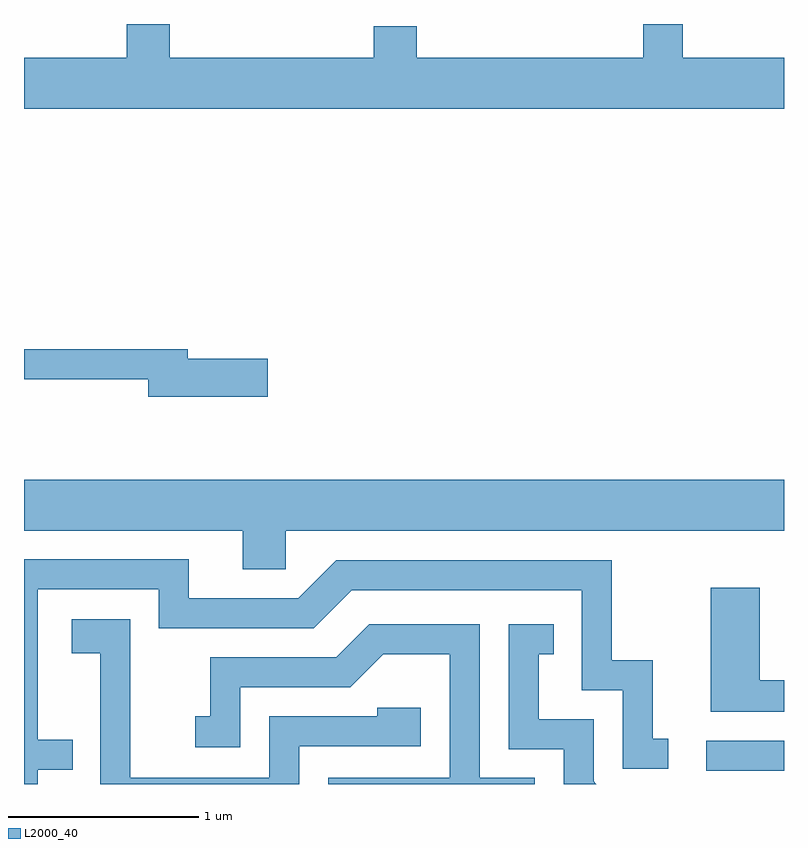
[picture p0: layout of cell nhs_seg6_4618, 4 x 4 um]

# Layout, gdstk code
import gdstk
lib = gdstk.Library(unit=1e-6, precision=1e-09)
def R(c, l, rs):  # rectangles x0, y0, x1, y1
    for r in rs: c.add(gdstk.rectangle(r[:2], r[2:], *l))
def P(c, l, *ps):  # polygons
    for p in ps: c.add(gdstk.Polygon(p, *l))
L2000_40 = (2000, 40)

nhs_seg6_4618 = lib.new_cell('nhs_seg6_4618')
R(nhs_seg6_4618, L2000_40, [(329.203,1644.231,329.611,1644.389)])
P(nhs_seg6_4618, L2000_40, [(329.611,1647.984),(329.079,1647.984),(329.079,1648.162),(328.871,1648.162),(328.871,1647.984),(327.679,1647.984),(327.679,1648.149),(327.451,1648.149),(327.451,1647.984),(326.379,1647.984),(326.379,1648.162),(326.151,1648.162),(326.151,1647.984),(325.611,1647.984),(325.611,1647.716),(329.611,1647.716)],
  [(326.894,1646.399),(326.474,1646.399),(326.474,1646.449),(325.611,1646.449),(325.611,1646.291),(326.266,1646.291),(326.266,1646.201),(326.894,1646.201)],
  [(326.989,1645.496),(329.611,1645.496),(329.611,1645.764),(325.611,1645.764),(325.611,1645.496),(326.761,1645.496),(326.761,1645.291),(326.989,1645.291)],
  [(325.684,1644.236),(325.868,1644.236),(325.868,1644.394),(325.684,1644.394),(325.684,1645.186),(326.321,1645.186),(326.321,1644.981),(327.137,1644.981),(327.337,1645.181),(328.546,1645.181),(328.546,1644.656),(328.761,1644.656),(328.761,1644.241),(329.003,1644.241),(329.003,1644.399),(328.919,1644.399),(328.919,1644.814),(328.704,1644.814),(328.704,1645.339),(327.254,1645.339),(327.054,1645.139),(326.479,1645.139),(326.479,1645.344),(325.611,1645.344),(325.611,1644.162),(325.684,1644.162)],
  [(329.611,1644.709),(329.484,1644.709),(329.484,1645.194),(329.226,1645.194),(329.226,1644.541),(329.611,1644.541)],
  [(327.059,1644.361),(327.699,1644.361),(327.699,1644.564),(327.471,1644.564),(327.471,1644.519),(326.901,1644.519),(326.901,1644.194),(326.169,1644.194),(326.169,1645.029),(325.861,1645.029),(325.861,1644.851),(326.011,1644.851),(326.011,1644.162),(327.059,1644.162)],
  [(328.299,1644.194),(328.009,1644.194),(328.009,1645.004),(327.429,1645.004),(327.254,1644.829),(326.591,1644.829),(326.591,1644.519),(326.513,1644.519),(326.513,1644.356),(326.749,1644.356),(326.749,1644.671),(327.327,1644.671),(327.502,1644.846),(327.851,1644.846),(327.851,1644.194),(327.211,1644.194),(327.211,1644.162),(328.299,1644.162)],
  [(328.609,1644.177),(328.609,1644.504),(328.319,1644.504),(328.319,1644.846),(328.398,1644.846),(328.398,1645.004),(328.161,1645.004),(328.161,1644.346),(328.451,1644.346),(328.451,1644.162),(328.624,1644.162)])

lib.write_gds('nhs_seg6_4618.gds')
